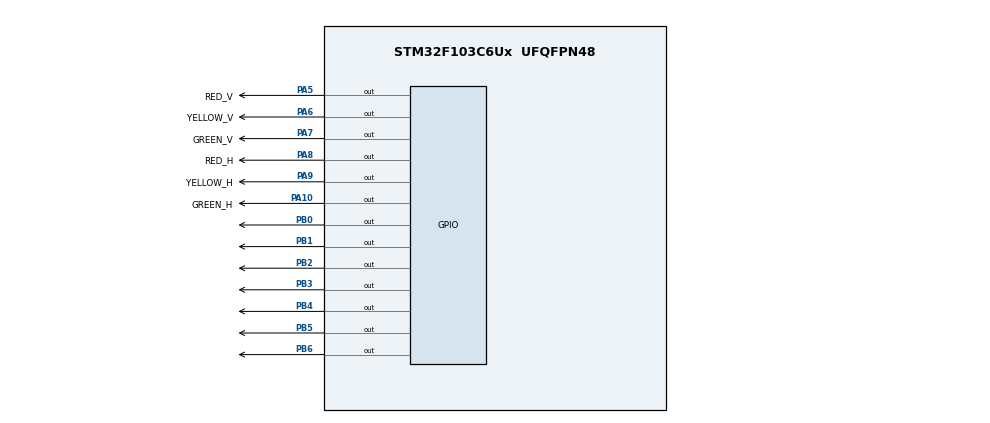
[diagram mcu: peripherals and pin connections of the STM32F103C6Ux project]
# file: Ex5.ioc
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Mcu.Family=STM32F1
Mcu.Name=STM32F103C6Ux
Mcu.Package=UFQFPN48
NVIC.PriorityGroup=NVIC_PRIORITYGROUP_4
PA10.GPIO_Label=GREEN_H
PA10.Signal=GPIO_Output
PA5.GPIO_Label=RED_V
PA5.Signal=GPIO_Output
PA6.GPIO_Label=YELLOW_V
PA6.Signal=GPIO_Output
PA7.GPIO_Label=GREEN_V
PA7.Signal=GPIO_Output
PA8.GPIO_Label=RED_H
PA8.Signal=GPIO_Output
PA9.GPIO_Label=YELLOW_H
PA9.Signal=GPIO_Output
PB0.Signal=GPIO_Output
PB1.Signal=GPIO_Output
PB2.Signal=GPIO_Output
PB3.Signal=GPIO_Output
PB4.Signal=GPIO_Output
PB5.Signal=GPIO_Output
PB6.Signal=GPIO_Output
ProjectManager.HeapSize=0x200
ProjectManager.StackSize=0x400
ProjectManager.TargetToolchain=STM32CubeIDE
RCC.APB1Freq_Value=8000000
RCC.APB2Freq_Value=8000000
VP_SYS_VS_ND.Mode=No_Debug
board=custom

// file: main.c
/* USER CODE BEGIN Header */
/**
  ******************************************************************************
  * @file           : main.c
  * @brief          : Main program body
  ******************************************************************************
  * @attention
  *
  * <h2><center>&copy; Copyright (c) 2026 STMicroelectronics.
  * All rights reserved.</center></h2>
  *
  * This software component is licensed by ST under BSD 3-Clause license,
  * the "License"; You may not use this file except in compliance with the
  * License. You may obtain a copy of the License at:
  *                        opensource.org/licenses/BSD-3-Clause
  *
  ******************************************************************************
  */
/* USER CODE END Header */
#include "main.h"

void SystemClock_Config(void);
static void MX_GPIO_Init(void);
/* USER CODE BEGIN PFP */
void display7SEG(int num);
/* USER CODE END PFP */

int main(void)
{
  /* USER CODE BEGIN 1 */
	int time = 0;
	int counter = 0;
  /* USER CODE END 1 */

  /* MCU Configuration--------------------------------------------------------*/

  /* Reset of all peripherals, Initializes the Flash interface and the Systick. */
  HAL_Init();

  /* Configure the system clock */
  SystemClock_Config();

  /* Initialize all configured peripherals */
  MX_GPIO_Init();

  /* Infinite loop */
    while (1)
    {

      /* USER CODE BEGIN 3 */
    	  // counter dem cho hang den ngang
          // 3s dau: ngang xanh, doc do
          if (time < 3){
              HAL_GPIO_WritePin(RED_H_GPIO_Port, RED_H_Pin, GPIO_PIN_RESET);
              HAL_GPIO_WritePin(YELLOW_H_GPIO_Port, YELLOW_H_Pin, GPIO_PIN_RESET);
              HAL_GPIO_WritePin(GREEN_H_GPIO_Port, GREEN_H_Pin, GPIO_PIN_SET);

              HAL_GPIO_WritePin(RED_V_GPIO_Port, RED_V_Pin, GPIO_PIN_SET);
              HAL_GPIO_WritePin(YELLOW_V_GPIO_Port, YELLOW_V_Pin, GPIO_PIN_RESET);
              HAL_GPIO_WritePin(GREEN_V_GPIO_Port, GREEN_V_Pin, GPIO_PIN_RESET);

              counter = 3 - time; // dem 3, 2, 1
          }
          // 2s ke tiep: ngang vang, doc do
          else if (time < 5){
              HAL_GPIO_WritePin(YELLOW_H_GPIO_Port, YELLOW_H_Pin, GPIO_PIN_SET);
              HAL_GPIO_WritePin(GREEN_H_GPIO_Port, GREEN_H_Pin, GPIO_PIN_RESET);

              counter = 5 - time; // dem 2, 1
          }
          // 3s ke tiep: ngang do, doc xanh
          else if (time < 8){
              HAL_GPIO_WritePin(RED_H_GPIO_Port, RED_H_Pin, GPIO_PIN_SET);
              HAL_GPIO_WritePin(YELLOW_H_GPIO_Port, YELLOW_H_Pin, GPIO_PIN_RESET);

              HAL_GPIO_WritePin(RED_V_GPIO_Port, RED_V_Pin, GPIO_PIN_RESET);
              HAL_GPIO_WritePin(GREEN_V_GPIO_Port, GREEN_V_Pin, GPIO_PIN_SET);

              counter = 10 - time; // dem 5, 4, 3
          }
          // 2s cuoi: ngang do, doc vang
          else{
              HAL_GPIO_WritePin(YELLOW_V_GPIO_Port, YELLOW_V_Pin, GPIO_PIN_SET);
              HAL_GPIO_WritePin(GREEN_V_GPIO_Port, GREEN_V_Pin, GPIO_PIN_RESET);

              counter = 10 - time; // dem 2, 1
          }

          display7SEG(counter);

          HAL_Delay(1000);

          time++;
          if (time >= 10){
              time = 0;
          }

    }
    /* USER CODE END 3 */
}

void SystemClock_Config(void)
{
  RCC_OscInitTypeDef RCC_OscInitStruct = {0};
  RCC_ClkInitTypeDef RCC_ClkInitStruct = {0};

  /** Initializes the RCC Oscillators according to the specified parameters
  * in the RCC_OscInitTypeDef structure.
  */
  RCC_OscInitStruct.OscillatorType = RCC_OSCILLATORTYPE_HSI;
  RCC_OscInitStruct.HSIState = RCC_HSI_ON;
  RCC_OscInitStruct.HSICalibrationValue = RCC_HSICALIBRATION_DEFAULT;
  RCC_OscInitStruct.PLL.PLLState = RCC_PLL_NONE;
  if (HAL_RCC_OscConfig(&RCC_OscInitStruct) != HAL_OK)
  {
    Error_Handler();
  }
  /** Initializes the CPU, AHB and APB buses clocks
  */
  RCC_ClkInitStruct.ClockType = RCC_CLOCKTYPE_HCLK|RCC_CLOCKTYPE_SYSCLK
                              |RCC_CLOCKTYPE_PCLK1|RCC_CLOCKTYPE_PCLK2;
  RCC_ClkInitStruct.SYSCLKSource = RCC_SYSCLKSOURCE_HSI;
  RCC_ClkInitStruct.AHBCLKDivider = RCC_SYSCLK_DIV1;
  RCC_ClkInitStruct.APB1CLKDivider = RCC_HCLK_DIV1;
  RCC_ClkInitStruct.APB2CLKDivider = RCC_HCLK_DIV1;

  if (HAL_RCC_ClockConfig(&RCC_ClkInitStruct, FLASH_LATENCY_0) != HAL_OK)
  {
    Error_Handler();
  }
}

static void MX_GPIO_Init(void)
{
  GPIO_InitTypeDef GPIO_InitStruct = {0};

  /* GPIO Ports Clock Enable */
  __HAL_RCC_GPIOA_CLK_ENABLE();
  __HAL_RCC_GPIOB_CLK_ENABLE();

  /*Configure GPIO pin Output Level */
  HAL_GPIO_WritePin(GPIOA, RED_V_Pin|YELLOW_V_Pin|GREEN_V_Pin|RED_H_Pin
                          |YELLOW_H_Pin|GREEN_H_Pin, GPIO_PIN_RESET);

  /*Configure GPIO pin Output Level */
  HAL_GPIO_WritePin(GPIOB, GPIO_PIN_0|GPIO_PIN_1|GPIO_PIN_2|GPIO_PIN_3
                          |GPIO_PIN_4|GPIO_PIN_5|GPIO_PIN_6, GPIO_PIN_RESET);

  /*Configure GPIO pins : RED_V_Pin YELLOW_V_Pin GREEN_V_Pin RED_H_Pin
                           YELLOW_H_Pin GREEN_H_Pin */
  GPIO_InitStruct.Pin = RED_V_Pin|YELLOW_V_Pin|GREEN_V_Pin|RED_H_Pin
                          |YELLOW_H_Pin|GREEN_H_Pin;
  GPIO_InitStruct.Mode = GPIO_MODE_OUTPUT_PP;
  GPIO_InitStruct.Pull = GPIO_NOPULL;
  GPIO_InitStruct.Speed = GPIO_SPEED_FREQ_LOW;
  HAL_GPIO_Init(GPIOA, &GPIO_InitStruct);

  /*Configure GPIO pins : PB0 PB1 PB2 PB3
                           PB4 PB5 PB6 */
  GPIO_InitStruct.Pin = GPIO_PIN_0|GPIO_PIN_1|GPIO_PIN_2|GPIO_PIN_3
                          |GPIO_PIN_4|GPIO_PIN_5|GPIO_PIN_6;
  GPIO_InitStruct.Mode = GPIO_MODE_OUTPUT_PP;
  GPIO_InitStruct.Pull = GPIO_NOPULL;
  GPIO_InitStruct.Speed = GPIO_SPEED_FREQ_LOW;
  HAL_GPIO_Init(GPIOB, &GPIO_InitStruct);

}

/* USER CODE BEGIN 4 */
void display7SEG(int num)
{
    // Mang chua cac so tu 0 den 9
    uint8_t seg7[10] = {0xC0, 0xF9, 0xA4, 0xB0, 0x99, 0x92, 0x82, 0xF8, 0x80, 0x90};

    if(num < 0 || num > 9) return;

    uint8_t value = seg7[num];

    HAL_GPIO_WritePin(GPIOB, GPIO_PIN_0, (value >> 0) & 0x01 ? GPIO_PIN_SET : GPIO_PIN_RESET); // doan a
    HAL_GPIO_WritePin(GPIOB, GPIO_PIN_1, (value >> 1) & 0x01 ? GPIO_PIN_SET : GPIO_PIN_RESET); // doan b
    HAL_GPIO_WritePin(GPIOB, GPIO_PIN_2, (value >> 2) & 0x01 ? GPIO_PIN_SET : GPIO_PIN_RESET); // doan c
    HAL_GPIO_WritePin(GPIOB, GPIO_PIN_3, (value >> 3) & 0x01 ? GPIO_PIN_SET : GPIO_PIN_RESET); // doan d
    HAL_GPIO_WritePin(GPIOB, GPIO_PIN_4, (value >> 4) & 0x01 ? GPIO_PIN_SET : GPIO_PIN_RESET); // doan e
    HAL_GPIO_WritePin(GPIOB, GPIO_PIN_5, (value >> 5) & 0x01 ? GPIO_PIN_SET : GPIO_PIN_RESET); // doan f
    HAL_GPIO_WritePin(GPIOB, GPIO_PIN_6, (value >> 6) & 0x01 ? GPIO_PIN_SET : GPIO_PIN_RESET); // doan g
}
/* USER CODE END 4 */

void Error_Handler(void)
{
  __disable_irq();
  while (1)
  {
  }
}

/************************ (C) COPYRIGHT STMicroelectronics *****END OF FILE****/
